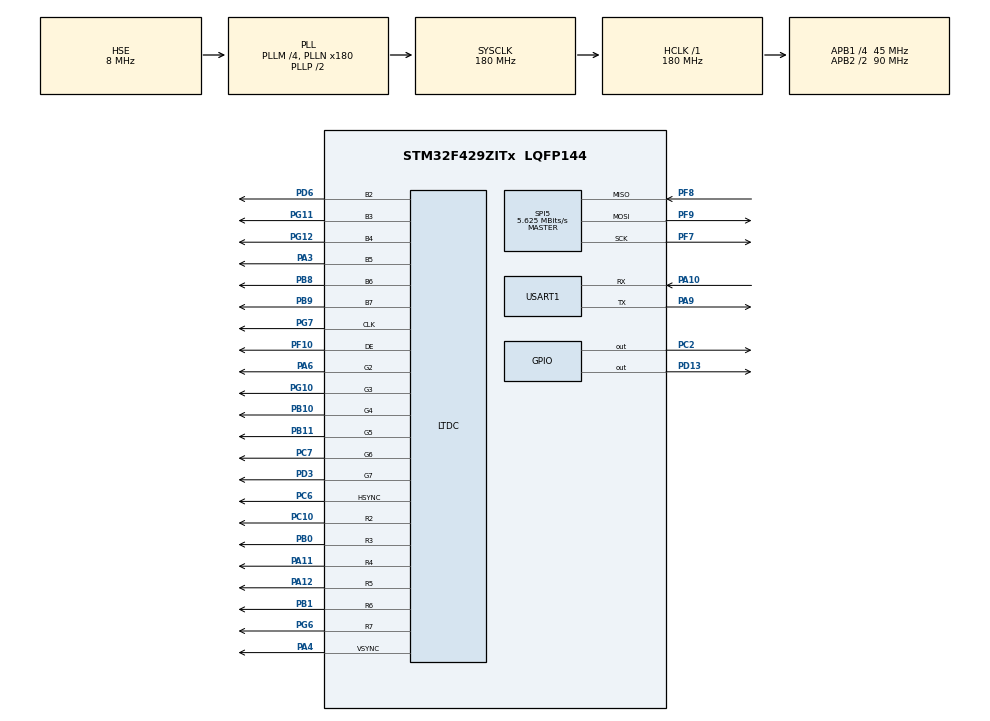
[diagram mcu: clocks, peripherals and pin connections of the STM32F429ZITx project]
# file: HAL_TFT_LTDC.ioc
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LTDC.ActiveH=320
LTDC.ActiveW=240
LTDC.Alpha_L0=255
LTDC.HBP=20
LTDC.HFP=10
LTDC.HSync=10
LTDC.ImageHeight_L0=320
LTDC.ImageWidth_L0=240
LTDC.Layers=0
LTDC.PixelFormat_L0=LTDC_PIXEL_FORMAT_RGB565
LTDC.VFP=4
LTDC.VSync=2
LTDC.WindowX1_L0=240
LTDC.WindowY1_L0=320
Mcu.Family=STM32F4
Mcu.Name=STM32F429ZITx
Mcu.Package=LQFP144
NVIC.PriorityGroup=NVIC_PRIORITYGROUP_4
PA10.Mode=Asynchronous
PA10.Signal=USART1_RX
PA11.Mode=RGB666
PA11.Signal=LTDC_R4
PA12.Mode=RGB666
PA12.Signal=LTDC_R5
PA3.Mode=RGB666
PA3.Signal=LTDC_B5
PA4.Mode=RGB666
PA4.Signal=LTDC_VSYNC
PA6.Mode=RGB666
PA6.Signal=LTDC_G2
PA9.Mode=Asynchronous
PA9.Signal=USART1_TX
PB0.Mode=RGB666
PB0.Signal=LTDC_R3
PB1.Mode=RGB666
PB1.Signal=LTDC_R6
PB10.Mode=RGB666
PB10.Signal=LTDC_G4
PB11.Mode=RGB666
PB11.Signal=LTDC_G5
PB8.Mode=RGB666
PB8.Signal=LTDC_B6
PB9.Mode=RGB666
PB9.Signal=LTDC_B7
PC10.Mode=RGB666
PC10.Signal=LTDC_R2
PC2.Signal=GPIO_Output
PC6.Mode=RGB666
PC6.Signal=LTDC_HSYNC
PC7.Mode=RGB666
PC7.Signal=LTDC_G6
PD13.Signal=GPIO_Output
PD3.Mode=RGB666
PD3.Signal=LTDC_G7
PD6.Mode=RGB666
PD6.Signal=LTDC_B2
PF10.Mode=RGB666
PF10.Signal=LTDC_DE
PF7.Mode=Full_Duplex_Master
PF7.Signal=SPI5_SCK
PF8.Mode=Full_Duplex_Master
PF8.Signal=SPI5_MISO
PF9.Mode=Full_Duplex_Master
PF9.Signal=SPI5_MOSI
PG10.Mode=RGB666
PG10.Signal=LTDC_G3
PG11.Mode=RGB666
PG11.Signal=LTDC_B3
PG12.Mode=RGB666
PG12.Signal=LTDC_B4
PG6.Mode=RGB666
PG6.Signal=LTDC_R7
PG7.Mode=RGB666
PG7.Signal=LTDC_CLK
PH0/OSC_IN.Mode=HSE-External-Oscillator
PH0/OSC_IN.Signal=RCC_OSC_IN
PH1/OSC_OUT.Mode=HSE-External-Oscillator
PH1/OSC_OUT.Signal=RCC_OSC_OUT
ProjectManager.HeapSize=0x200
ProjectManager.StackSize=0x400
ProjectManager.TargetToolchain=TrueSTUDIO
RCC.48MHZClocksFreq_Value=90000000
RCC.AHBFreq_Value=180000000
RCC.APB1CLKDivider=RCC_HCLK_DIV4
RCC.APB1Freq_Value=45000000
RCC.APB1TimFreq_Value=90000000
RCC.APB2CLKDivider=RCC_HCLK_DIV2
RCC.APB2Freq_Value=90000000
RCC.APB2TimFreq_Value=180000000
RCC.CortexFreq_Value=180000000
RCC.HCLKFreq_Value=180000000
RCC.HSE_VALUE=8000000
RCC.HSI_VALUE=16000000
RCC.LSE_VALUE=32768
RCC.PLLM=4
RCC.PLLN=180
RCC.PLLSAIDivR=RCC_PLLSAIDIVR_4
RCC.PLLSAIN=60
RCC.PLLSAIR=5
RCC.PLLSourceVirtual=RCC_PLLSOURCE_HSE
RCC.SYSCLKFreq_VALUE=180000000
RCC.SYSCLKSource=RCC_SYSCLKSOURCE_PLLCLK
RCC.VCOOutputFreq_Value=360000000
SPI5.BaudRatePrescaler=SPI_BAUDRATEPRESCALER_16
SPI5.CalculateBaudRate=5.625 MBits/s
SPI5.Direction=SPI_DIRECTION_2LINES
SPI5.Mode=SPI_MODE_MASTER
SPI5.VirtualType=VM_MASTER
USART1.VirtualMode=VM_ASYNC
board=custom

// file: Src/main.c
/* USER CODE BEGIN Header */
/**
  ******************************************************************************
  * @file           : main.c
  * @brief          : Main program body
  ******************************************************************************
  * @attention
  *
  * <h2><center>&copy; Copyright (c) 2019 STMicroelectronics.
  * All rights reserved.</center></h2>
  *
  * This software component is licensed by ST under BSD 3-Clause license,
  * the "License"; You may not use this file except in compliance with the
  * License. You may obtain a copy of the License at:
  *                        opensource.org/licenses/BSD-3-Clause
  *
  ******************************************************************************
  */
/* USER CODE END Header */

#include "main.h"

/* USER CODE BEGIN Includes */
#include "lcd_ili9341.h"
/* USER CODE END Includes */

LTDC_HandleTypeDef hltdc;

SPI_HandleTypeDef hspi5;

UART_HandleTypeDef huart1;

void SystemClock_Config(void);
static void MX_GPIO_Init(void);
static void MX_LTDC_Init(void);
static void MX_SPI5_Init(void);
static void MX_USART1_UART_Init(void);

/* USER CODE BEGIN 0 */
#define LCD_FRAMEBUFFER_SIZE (LCD_PIXEL_WIDTH * LCD_PIXEL_HEIGHT)
uint16_t frame_buffer[LCD_FRAMEBUFFER_SIZE];
/* USER CODE END 0 */

int main(void)
{
  /* USER CODE BEGIN 1 */
	int color[] = {
				LCD_COLOR_WHITE,
				LCD_COLOR_BLACK,
				LCD_COLOR_GREY,
				LCD_COLOR_BLUE,
				LCD_COLOR_BLUE2,
				LCD_COLOR_RED,
				LCD_COLOR_MAGENTA,
				LCD_COLOR_GREEN,
				LCD_COLOR_CYAN,
				LCD_COLOR_YELLOW
		};
  /* USER CODE END 1 */

  /* MCU Configuration--------------------------------------------------------*/

  /* Reset of all peripherals, Initializes the Flash interface and the Systick. */
  HAL_Init();

  /* Configure the system clock */
  SystemClock_Config();

  /* Initialize all configured peripherals */
  MX_GPIO_Init();
  MX_LTDC_Init();
  MX_SPI5_Init();
  MX_USART1_UART_Init();
  /* USER CODE BEGIN 2 */
  HAL_GPIO_WritePin(GPIOC, GPIO_PIN_2, GPIO_PIN_SET);
  LCD_PowerOn();
  HAL_LTDC_SetAddress(&hltdc, (uint32_t)frame_buffer, 0);
  /* USER CODE END 2 */

  /* Infinite loop */
  while (1)
  {

    /* USER CODE BEGIN 3 */
	for(int i=0; i<10; i++) {
		for(int j=0; j<LCD_FRAMEBUFFER_SIZE; j++) {
			frame_buffer[j] = color[i];
		}
		HAL_Delay(1000);
	}
  }
  /* USER CODE END 3 */
}

void SystemClock_Config(void)
{
  RCC_OscInitTypeDef RCC_OscInitStruct = {0};
  RCC_ClkInitTypeDef RCC_ClkInitStruct = {0};
  RCC_PeriphCLKInitTypeDef PeriphClkInitStruct = {0};

  /** Configure the main internal regulator output voltage
  */
  __HAL_RCC_PWR_CLK_ENABLE();
  __HAL_PWR_VOLTAGESCALING_CONFIG(PWR_REGULATOR_VOLTAGE_SCALE1);
  /** Initializes the CPU, AHB and APB busses clocks
  */
  RCC_OscInitStruct.OscillatorType = RCC_OSCILLATORTYPE_HSE;
  RCC_OscInitStruct.HSEState = RCC_HSE_ON;
  RCC_OscInitStruct.PLL.PLLState = RCC_PLL_ON;
  RCC_OscInitStruct.PLL.PLLSource = RCC_PLLSOURCE_HSE;
  RCC_OscInitStruct.PLL.PLLM = 4;
  RCC_OscInitStruct.PLL.PLLN = 180;
  RCC_OscInitStruct.PLL.PLLP = RCC_PLLP_DIV2;
  RCC_OscInitStruct.PLL.PLLQ = 4;
  if (HAL_RCC_OscConfig(&RCC_OscInitStruct) != HAL_OK)
  {
    Error_Handler();
  }
  /** Activate the Over-Drive mode
  */
  if (HAL_PWREx_EnableOverDrive() != HAL_OK)
  {
    Error_Handler();
  }
  /** Initializes the CPU, AHB and APB busses clocks
  */
  RCC_ClkInitStruct.ClockType = RCC_CLOCKTYPE_HCLK|RCC_CLOCKTYPE_SYSCLK
                              |RCC_CLOCKTYPE_PCLK1|RCC_CLOCKTYPE_PCLK2;
  RCC_ClkInitStruct.SYSCLKSource = RCC_SYSCLKSOURCE_PLLCLK;
  RCC_ClkInitStruct.AHBCLKDivider = RCC_SYSCLK_DIV1;
  RCC_ClkInitStruct.APB1CLKDivider = RCC_HCLK_DIV4;
  RCC_ClkInitStruct.APB2CLKDivider = RCC_HCLK_DIV2;

  if (HAL_RCC_ClockConfig(&RCC_ClkInitStruct, FLASH_LATENCY_5) != HAL_OK)
  {
    Error_Handler();
  }
  PeriphClkInitStruct.PeriphClockSelection = RCC_PERIPHCLK_LTDC;
  PeriphClkInitStruct.PLLSAI.PLLSAIN = 60;
  PeriphClkInitStruct.PLLSAI.PLLSAIR = 5;
  PeriphClkInitStruct.PLLSAIDivR = RCC_PLLSAIDIVR_4;
  if (HAL_RCCEx_PeriphCLKConfig(&PeriphClkInitStruct) != HAL_OK)
  {
    Error_Handler();
  }
}

static void MX_LTDC_Init(void)
{

  LTDC_LayerCfgTypeDef pLayerCfg = {0};

  hltdc.Instance = LTDC;
  hltdc.Init.HSPolarity = LTDC_HSPOLARITY_AL;
  hltdc.Init.VSPolarity = LTDC_VSPOLARITY_AL;
  hltdc.Init.DEPolarity = LTDC_DEPOLARITY_AL;
  hltdc.Init.PCPolarity = LTDC_PCPOLARITY_IPC;
  hltdc.Init.HorizontalSync = 9;
  hltdc.Init.VerticalSync = 1;
  hltdc.Init.AccumulatedHBP = 29;
  hltdc.Init.AccumulatedVBP = 3;
  hltdc.Init.AccumulatedActiveW = 269;
  hltdc.Init.AccumulatedActiveH = 323;
  hltdc.Init.TotalWidth = 279;
  hltdc.Init.TotalHeigh = 327;
  hltdc.Init.Backcolor.Blue = 0;
  hltdc.Init.Backcolor.Green = 0;
  hltdc.Init.Backcolor.Red = 0;
  if (HAL_LTDC_Init(&hltdc) != HAL_OK)
  {
    Error_Handler();
  }
  pLayerCfg.WindowX0 = 0;
  pLayerCfg.WindowX1 = 240;
  pLayerCfg.WindowY0 = 0;
  pLayerCfg.WindowY1 = 320;
  pLayerCfg.PixelFormat = LTDC_PIXEL_FORMAT_RGB565;
  pLayerCfg.Alpha = 255;
  pLayerCfg.Alpha0 = 0;
  pLayerCfg.BlendingFactor1 = LTDC_BLENDING_FACTOR1_CA;
  pLayerCfg.BlendingFactor2 = LTDC_BLENDING_FACTOR2_CA;
  pLayerCfg.FBStartAdress = 0;
  pLayerCfg.ImageWidth = 240;
  pLayerCfg.ImageHeight = 320;
  pLayerCfg.Backcolor.Blue = 0;
  pLayerCfg.Backcolor.Green = 0;
  pLayerCfg.Backcolor.Red = 0;
  if (HAL_LTDC_ConfigLayer(&hltdc, &pLayerCfg, 0) != HAL_OK)
  {
    Error_Handler();
  }

}

static void MX_SPI5_Init(void)
{

  /* SPI5 parameter configuration*/
  hspi5.Instance = SPI5;
  hspi5.Init.Mode = SPI_MODE_MASTER;
  hspi5.Init.Direction = SPI_DIRECTION_2LINES;
  hspi5.Init.DataSize = SPI_DATASIZE_8BIT;
  hspi5.Init.CLKPolarity = SPI_POLARITY_LOW;
  hspi5.Init.CLKPhase = SPI_PHASE_1EDGE;
  hspi5.Init.NSS = SPI_NSS_SOFT;
  hspi5.Init.BaudRatePrescaler = SPI_BAUDRATEPRESCALER_16;
  hspi5.Init.FirstBit = SPI_FIRSTBIT_MSB;
  hspi5.Init.TIMode = SPI_TIMODE_DISABLE;
  hspi5.Init.CRCCalculation = SPI_CRCCALCULATION_DISABLE;
  hspi5.Init.CRCPolynomial = 10;
  if (HAL_SPI_Init(&hspi5) != HAL_OK)
  {
    Error_Handler();
  }

}

static void MX_USART1_UART_Init(void)
{

  huart1.Instance = USART1;
  huart1.Init.BaudRate = 115200;
  huart1.Init.WordLength = UART_WORDLENGTH_8B;
  huart1.Init.StopBits = UART_STOPBITS_1;
  huart1.Init.Parity = UART_PARITY_NONE;
  huart1.Init.Mode = UART_MODE_TX_RX;
  huart1.Init.HwFlowCtl = UART_HWCONTROL_NONE;
  huart1.Init.OverSampling = UART_OVERSAMPLING_16;
  if (HAL_UART_Init(&huart1) != HAL_OK)
  {
    Error_Handler();
  }

}

static void MX_GPIO_Init(void)
{
  GPIO_InitTypeDef GPIO_InitStruct = {0};

  /* GPIO Ports Clock Enable */
  __HAL_RCC_GPIOF_CLK_ENABLE();
  __HAL_RCC_GPIOH_CLK_ENABLE();
  __HAL_RCC_GPIOC_CLK_ENABLE();
  __HAL_RCC_GPIOA_CLK_ENABLE();
  __HAL_RCC_GPIOB_CLK_ENABLE();
  __HAL_RCC_GPIOD_CLK_ENABLE();
  __HAL_RCC_GPIOG_CLK_ENABLE();

  /*Configure GPIO pin Output Level */
  HAL_GPIO_WritePin(GPIOC, GPIO_PIN_2, GPIO_PIN_RESET);

  /*Configure GPIO pin Output Level */
  HAL_GPIO_WritePin(GPIOD, GPIO_PIN_13, GPIO_PIN_RESET);

  /*Configure GPIO pin : PC2 */
  GPIO_InitStruct.Pin = GPIO_PIN_2;
  GPIO_InitStruct.Mode = GPIO_MODE_OUTPUT_PP;
  GPIO_InitStruct.Pull = GPIO_NOPULL;
  GPIO_InitStruct.Speed = GPIO_SPEED_FREQ_LOW;
  HAL_GPIO_Init(GPIOC, &GPIO_InitStruct);

  /*Configure GPIO pin : PD13 */
  GPIO_InitStruct.Pin = GPIO_PIN_13;
  GPIO_InitStruct.Mode = GPIO_MODE_OUTPUT_PP;
  GPIO_InitStruct.Pull = GPIO_NOPULL;
  GPIO_InitStruct.Speed = GPIO_SPEED_FREQ_LOW;
  HAL_GPIO_Init(GPIOD, &GPIO_InitStruct);

}

void Error_Handler(void)
{
}

/************************ (C) COPYRIGHT STMicroelectronics *****END OF FILE****/
